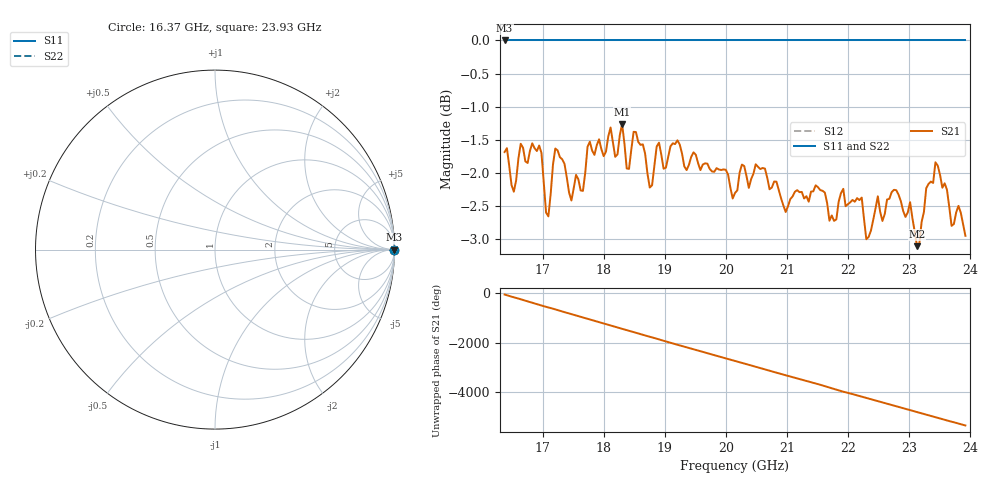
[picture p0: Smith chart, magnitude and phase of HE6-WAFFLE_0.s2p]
!Agilent N9918A: A.07.57
!Date: Thursday, 22 August 2019 13:28:57
!Timezone: (GMT-08:00) Pacific Time (US & Canada)
!Model: N9918A
!Serial: MY53103598
!GPS Latitude:
!GPS Longitude:
!GPS TimeStamp: 0001-01-01 00:00:00Z
!GPS Seconds Since Last Read: 0
!CHECKSUM:0986031725
!Correction: S11()S21(Rdy)S12()S22()
!S2P File: Measurements:S11,S21,S12,S22:
# Hz S DB R 50
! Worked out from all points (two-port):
!   201 points, 16.37 GHz to 23.93 GHz, reference 50 ohm
!   highest |S21| = -1.26 dB at 18.3 GHz (marker M1); lowest = -3.1 dB at 23.14 GHz (marker M2)
!   |S21| within 3 dB of the highest: start of sweep to end of sweep
!   lowest |S11| = 0.0 dB at 16.37 GHz (marker M3)
!   |S11| at or under -10 dB: nowhere
!   |S22| runs from 0.0 to 0.0 dB; largest |S21 - S12| = 1.8
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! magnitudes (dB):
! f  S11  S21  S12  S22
! 16.37 GHz  0.0  -1.7  0.0  0.0
! 16.52 GHz  0.0  -2.3  0.0  0.0
! 16.64 GHz  0.0  -1.6  0.0  0.0
! 16.94 GHz  0.0  -1.6  0.0  0.0
! 17.09 GHz  0.0  -2.7  0.0  0.0
! 17.2 GHz  0.0  -1.6  0.0  0.0
! 17.66 GHz  0.0  -2.3  0.0  0.0
! 17.77 GHz  0.0  -1.5  0.0  0.0
! 18.3 GHz  0.0  -1.3  0.0  0.0
! 18.37 GHz  0.0  -1.9  0.0  0.0
! 18.53 GHz  0.0  -1.4  0.0  0.0
! 18.75 GHz  0.0  -2.2  0.0  0.0
! 18.9 GHz  0.0  -1.5  0.0  0.0
! 20.19 GHz  0.0  -2.3  0.0  0.0
! 21.44 GHz  0.0  -2.3  0.0  0.0
! 22.23 GHz  0.0  -2.4  0.0  0.0
! 22.3 GHz  0.0  -3.0  0.0  0.0
! 22.68 GHz  0.0  -2.4  0.0  0.0
! 23.02 GHz  0.0  -2.4  0.0  0.0
! 23.14 GHz  0.0  -3.1  0.0  0.0
! 23.44 GHz  0.0  -1.8  0.0  0.0
! 23.93 GHz  0.0  -3.0  0.0  0.0
